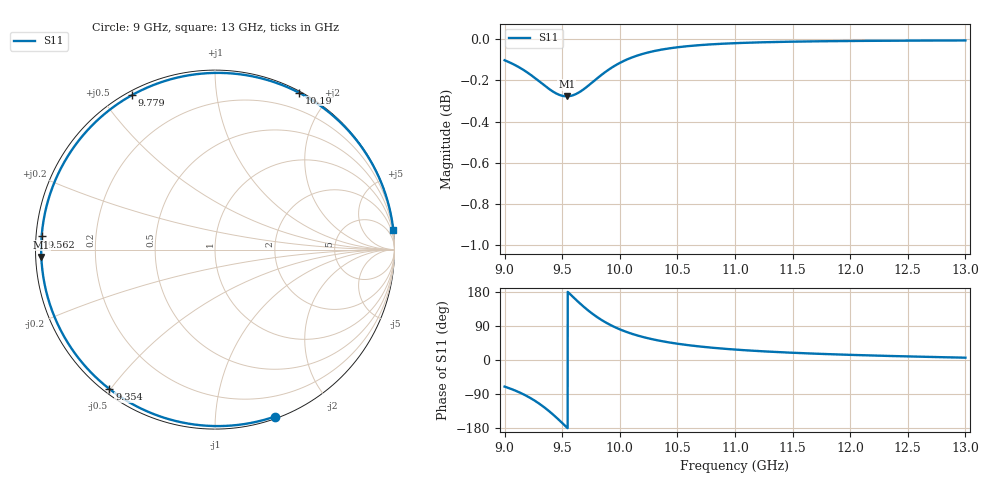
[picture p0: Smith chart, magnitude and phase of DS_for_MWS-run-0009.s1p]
! TOUCHSTONE file generated by CST DESIGN STUDIO
! Date and time: Tue Feb  4 17:31:05 2025
! Project name: C:\Work\MatlabApps\UnitCellOptimizationMatlab\CST\unitcell.cst
! Tree item: Tasks\Sweep1\SPara1\S-Parameters
! Header version: 2024
! Port assignment regex: !\s*Touchstone port\s*([0-9]+)\s*=\s*(CST MWS port|CST DES external port|CST DES block port)\s*(.+)\s* \(\"(.*)\"\)(\s*mode\s*([0-9]+))?.*
! Touchstone port assignment:
! Touchstone port 1 = CST DES external port 1 ("")
# GHz S MA R 50
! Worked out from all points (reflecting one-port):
!   4001 points, 9 GHz to 13 GHz, reference 50 ohm
!   lowest |S11| = -0.3 dB at 9.539 GHz (marker M1), VSWR 62.67, Z = 0.798 - j1.05 ohm
!   phase of S11 starts at -70 deg and turns -284 deg over the sweep
!   S11 on the Smith chart (normalised r, x): 9 GHz: 0.02, -1.42; 9.354 GHz: 0.02, -0.50; 9.562 GHz: 0.02, +0.04; 9.779 GHz: 0.02, +0.60; 10.19 GHz: 0.02, +1.67; 13 GHz: 0, +19
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9  0.9883 -70.2
9.1  0.9854 -81.6
9.209  0.9811 -97.8
9.285  0.9775 -111.9
9.354  0.9741 -127.2
9.424  0.971 -144.9
9.464  0.9697 -155.9
9.5  0.9689 -166.2
9.539  0.9686 -177.6
9.562  0.9687 175.6
9.617  0.9698 159.7
9.677  0.972 143.1
9.728  0.9745 130.1
9.779  0.9771 118.4
9.826  0.9795 108.6
9.877  0.982 99.2
9.934  0.9844 90.0
10  0.9869 80.9
10.089  0.9895 70.8
10.186  0.9916 61.9
10.33  0.9939 51.8
10.5  0.9955 43.0
10.721  0.9969 34.8
11  0.9978 27.5
11.5  0.9987 19.1
12  0.9991 13.6
12.5  0.9993 9.5
13  0.9994 6.1
